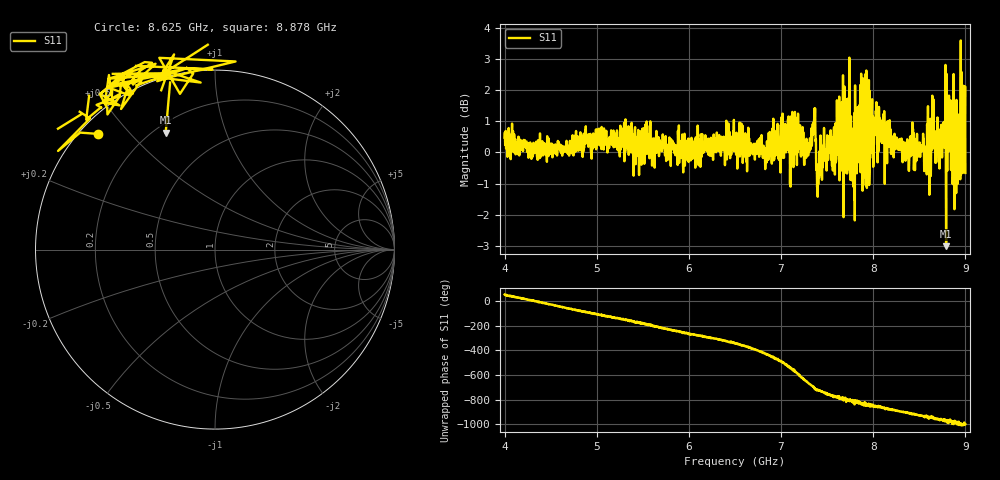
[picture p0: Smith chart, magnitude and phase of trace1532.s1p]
! Created with skrf 1.8.0 (http://scikit-rf.org).
# Hz S RI R 50.0
!freq ReS11 ImS11
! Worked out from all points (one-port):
!   1601 points, 4 GHz to 9 GHz, reference 50 ohm
!   lowest |S11| = -3.0 dB at 8.791 GHz (marker M1), VSWR 5.83, Z = 12.2 + j31.8 ohm
!   |S11| at or under -10 dB: nowhere
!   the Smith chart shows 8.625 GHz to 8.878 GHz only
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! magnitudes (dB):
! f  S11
! 4 GHz  0.5
! 4.625 GHz  -0.1
! 4.897 GHz  0.3
! 5.25 GHz  -0.1
! 5.875 GHz  0.0
! 6.5 GHz  0.4
! 6.825 GHz  -0.1
! 7.022 GHz  -0.2
! 7.125 GHz  0.3
! 7.162 GHz  -0.1
! 7.269 GHz  0.3
! 7.353 GHz  1.0
! 7.412 GHz  -0.8
! 7.522 GHz  0.4
! 7.575 GHz  0.8
! 7.669 GHz  0.8
! 7.703 GHz  -0.1
! 7.75 GHz  -0.9
! 7.775 GHz  0.8
! 7.853 GHz  1.5
! 7.956 GHz  -1.0
! 8.097 GHz  0.3
! 8.375 GHz  0.1
! 8.584 GHz  0.9
! 8.791 GHz  -3.0
! 8.919 GHz  -0.4
! 8.972 GHz  0.5
! 9 GHz  -0.7
